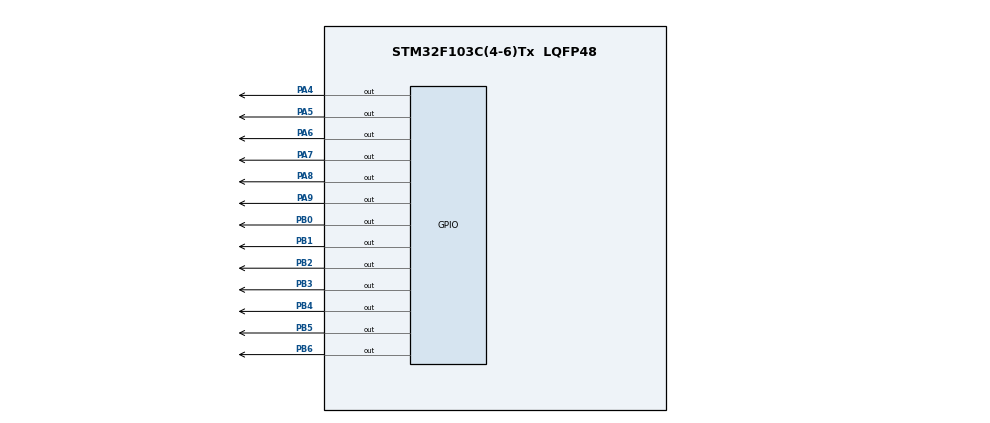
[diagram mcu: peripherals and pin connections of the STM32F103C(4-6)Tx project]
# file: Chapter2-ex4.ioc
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Mcu.Family=STM32F1
Mcu.Name=STM32F103C(4-6)Tx
Mcu.Package=LQFP48
NVIC.PriorityGroup=NVIC_PRIORITYGROUP_4
NVIC.TIM2_IRQn=true\:0\:0\:false\:false\:true\:true\:true
PA4.Signal=GPIO_Output
PA5.Signal=GPIO_Output
PA6.Signal=GPIO_Output
PA7.Signal=GPIO_Output
PA8.Signal=GPIO_Output
PA9.Signal=GPIO_Output
PB0.Signal=GPIO_Output
PB1.Signal=GPIO_Output
PB2.Signal=GPIO_Output
PB3.Signal=GPIO_Output
PB4.Signal=GPIO_Output
PB5.Signal=GPIO_Output
PB6.Signal=GPIO_Output
ProjectManager.HeapSize=0x200
ProjectManager.StackSize=0x400
ProjectManager.TargetToolchain=STM32CubeIDE
RCC.APB1Freq_Value=8000000
RCC.APB2Freq_Value=8000000
TIM2.AutoReloadPreload=TIM_AUTORELOAD_PRELOAD_ENABLE
TIM2.Period=9
TIM2.Prescaler=7999
VP_SYS_VS_ND.Mode=No_Debug
VP_TIM2_VS_ClockSourceINT.Mode=Internal
board=custom

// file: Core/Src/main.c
/* USER CODE BEGIN Header */
/**
  ******************************************************************************
  * @file           : main.c
  * @brief          : Main program body
  ******************************************************************************
  * @attention
  *
  * <h2><center>&copy; Copyright (c) 2021 STMicroelectronics.
  * All rights reserved.</center></h2>
  *
  * This software component is licensed by ST under BSD 3-Clause license,
  * the "License"; You may not use this file except in compliance with the
  * License. You may obtain a copy of the License at:
  *                        opensource.org/licenses/BSD-3-Clause
  *
  ******************************************************************************
  */
/* USER CODE END Header */
#include "main.h"

TIM_HandleTypeDef htim2;

/* USER CODE BEGIN PV */
int mil_1000 = 1;
int mil_500 = 1;

const int MAX_LED = 4;
int index_led = 0;
int led_buffer [4] = {1, 2, 3, 4};
/* USER CODE END PV */

void SystemClock_Config(void);
static void MX_TIM2_Init(void);
static void MX_GPIO_Init(void);

/* USER CODE BEGIN PFP */
void update7SEG(int);
/* USER CODE END PFP */

int main(void)
{

  /* MCU Configuration--------------------------------------------------------*/

  /* Reset of all peripherals, Initializes the Flash interface and the Systick. */
  HAL_Init();

  /* Configure the system clock */
  SystemClock_Config();

  /* Initialize all configured peripherals */
  MX_TIM2_Init();
  MX_GPIO_Init();
  /* USER CODE BEGIN 2 */
  HAL_TIM_Base_Start_IT(&htim2);
  /* USER CODE END 2 */

  /* Infinite loop */
  while (1)
  {

  }
}

void SystemClock_Config(void)
{
  RCC_OscInitTypeDef RCC_OscInitStruct = {0};
  RCC_ClkInitTypeDef RCC_ClkInitStruct = {0};

  /** Initializes the RCC Oscillators according to the specified parameters
  * in the RCC_OscInitTypeDef structure.
  */
  RCC_OscInitStruct.OscillatorType = RCC_OSCILLATORTYPE_HSI;
  RCC_OscInitStruct.HSIState = RCC_HSI_ON;
  RCC_OscInitStruct.HSICalibrationValue = RCC_HSICALIBRATION_DEFAULT;
  RCC_OscInitStruct.PLL.PLLState = RCC_PLL_NONE;
  if (HAL_RCC_OscConfig(&RCC_OscInitStruct) != HAL_OK)
  {
    Error_Handler();
  }
  /** Initializes the CPU, AHB and APB buses clocks
  */
  RCC_ClkInitStruct.ClockType = RCC_CLOCKTYPE_HCLK|RCC_CLOCKTYPE_SYSCLK
                              |RCC_CLOCKTYPE_PCLK1|RCC_CLOCKTYPE_PCLK2;
  RCC_ClkInitStruct.SYSCLKSource = RCC_SYSCLKSOURCE_HSI;
  RCC_ClkInitStruct.AHBCLKDivider = RCC_SYSCLK_DIV1;
  RCC_ClkInitStruct.APB1CLKDivider = RCC_HCLK_DIV1;
  RCC_ClkInitStruct.APB2CLKDivider = RCC_HCLK_DIV1;

  if (HAL_RCC_ClockConfig(&RCC_ClkInitStruct, FLASH_LATENCY_0) != HAL_OK)
  {
    Error_Handler();
  }
}

static void MX_TIM2_Init(void)
{

  TIM_ClockConfigTypeDef sClockSourceConfig = {0};
  TIM_MasterConfigTypeDef sMasterConfig = {0};

  htim2.Instance = TIM2;
  htim2.Init.Prescaler = 7999;
  htim2.Init.CounterMode = TIM_COUNTERMODE_UP;
  htim2.Init.Period = 9;
  htim2.Init.ClockDivision = TIM_CLOCKDIVISION_DIV1;
  htim2.Init.AutoReloadPreload = TIM_AUTORELOAD_PRELOAD_ENABLE;
  if (HAL_TIM_Base_Init(&htim2) != HAL_OK)
  {
    Error_Handler();
  }
  sClockSourceConfig.ClockSource = TIM_CLOCKSOURCE_INTERNAL;
  if (HAL_TIM_ConfigClockSource(&htim2, &sClockSourceConfig) != HAL_OK)
  {
    Error_Handler();
  }
  sMasterConfig.MasterOutputTrigger = TIM_TRGO_RESET;
  sMasterConfig.MasterSlaveMode = TIM_MASTERSLAVEMODE_DISABLE;
  if (HAL_TIMEx_MasterConfigSynchronization(&htim2, &sMasterConfig) != HAL_OK)
  {
    Error_Handler();
  }

}

static void MX_GPIO_Init(void)
{
  GPIO_InitTypeDef GPIO_InitStruct = {0};

  /* GPIO Ports Clock Enable */
  __HAL_RCC_GPIOA_CLK_ENABLE();
  __HAL_RCC_GPIOB_CLK_ENABLE();

  /*Configure GPIO pin Output Level */
  HAL_GPIO_WritePin(GPIOA, GPIO_PIN_4|GPIO_PIN_5|GPIO_PIN_6|GPIO_PIN_7
                          |GPIO_PIN_8|GPIO_PIN_9, GPIO_PIN_RESET);

  /*Configure GPIO pin Output Level */
  HAL_GPIO_WritePin(GPIOB, GPIO_PIN_0|GPIO_PIN_1|GPIO_PIN_2|GPIO_PIN_3
                          |GPIO_PIN_4|GPIO_PIN_5|GPIO_PIN_6, GPIO_PIN_RESET);

  /*Configure GPIO pins : PA4 PA5 PA6 PA7
                           PA8 PA9 */
  GPIO_InitStruct.Pin = GPIO_PIN_4|GPIO_PIN_5|GPIO_PIN_6|GPIO_PIN_7
                          |GPIO_PIN_8|GPIO_PIN_9;
  GPIO_InitStruct.Mode = GPIO_MODE_OUTPUT_PP;
  GPIO_InitStruct.Pull = GPIO_NOPULL;
  GPIO_InitStruct.Speed = GPIO_SPEED_FREQ_LOW;
  HAL_GPIO_Init(GPIOA, &GPIO_InitStruct);

  /*Configure GPIO pins : PB0 PB1 PB2 PB3
                           PB4 PB5 PB6 */
  GPIO_InitStruct.Pin = GPIO_PIN_0|GPIO_PIN_1|GPIO_PIN_2|GPIO_PIN_3
                          |GPIO_PIN_4|GPIO_PIN_5|GPIO_PIN_6;
  GPIO_InitStruct.Mode = GPIO_MODE_OUTPUT_PP;
  GPIO_InitStruct.Pull = GPIO_NOPULL;
  GPIO_InitStruct.Speed = GPIO_SPEED_FREQ_LOW;
  HAL_GPIO_Init(GPIOB, &GPIO_InitStruct);

}

/* USER CODE BEGIN 4 */
void display7SEG(int num) {

	HAL_GPIO_WritePin(SEG_PORT, SEG0 | SEG1 | SEG2 | SEG3 | SEG4 | SEG5 | SEG6, 1);
		switch(num) {
		case 0:
			HAL_GPIO_WritePin(SEG_PORT, SEG0 | SEG1 | SEG2 | SEG3 | SEG4 | SEG5, 0);
			break;
		case 1:
			HAL_GPIO_WritePin(SEG_PORT, SEG1 | SEG2, 0);
			break;
		case 2:
			HAL_GPIO_WritePin(SEG_PORT, SEG0 | SEG1 | SEG3 | SEG4 | SEG6, 0);
			break;
		case 3:
			HAL_GPIO_WritePin(SEG_PORT, SEG0 | SEG1 | SEG2 | SEG3 | SEG6, 0);
			break;
		case 4:
			HAL_GPIO_WritePin(SEG_PORT, SEG1 | SEG2 | SEG5 | SEG6, 0);
			break;
		case 5:
			HAL_GPIO_WritePin(SEG_PORT, SEG0 | SEG2 | SEG3 | SEG5 | SEG6, 0);
			break;
		case 6:
			HAL_GPIO_WritePin(SEG_PORT, SEG0 | SEG2 | SEG3 | SEG4 | SEG5 | SEG6, 0);
			break;
		case 7:
			HAL_GPIO_WritePin(SEG_PORT, SEG0 | SEG1 | SEG2, 0);
			break;
		case 8:
			HAL_GPIO_WritePin(SEG_PORT, SEG0 | SEG1 | SEG2 | SEG3 | SEG4 | SEG5 | SEG6, 0);
			break;
		case 9:
			HAL_GPIO_WritePin(SEG_PORT, SEG0 | SEG1 | SEG2 | SEG3 | SEG5 | SEG6, 0);
			break;
		}
}

int led = 0;
void HAL_TIM_PeriodElapsedCallback(TIM_HandleTypeDef*htim) {
	mil_1000--; mil_500--;

	if(mil_500 == 0) {
		mil_500 = 50;

		update7SEG(index_led++);
		if(index_led == MAX_LED) index_led = 0;
	}
	if(mil_1000 == 0) {
		mil_1000 = 100;
		HAL_GPIO_TogglePin(DOT_PORT, DOT);
		HAL_GPIO_TogglePin(RLED_PORT, RLED1);
	}
}

void update7SEG(int index) {
	HAL_GPIO_WritePin(EN_PORT, EN0 | EN1 | EN2 | EN3, 1);
	display7SEG(led_buffer[index]);

	switch(index) {
	case 0:
		HAL_GPIO_WritePin(EN_PORT, EN0, 0);
		break;
	case 1:
		HAL_GPIO_WritePin(EN_PORT, EN1, 0);
		break;
	case 2:
		HAL_GPIO_WritePin(EN_PORT, EN2, 0);
		break;
	case 3:
		HAL_GPIO_WritePin(EN_PORT, EN3, 0);
		break;
	default:
		break;
	}
}
/* USER CODE END 4 */

void Error_Handler(void)
{
  __disable_irq();
  while (1)
  {
  }
}

/************************ (C) COPYRIGHT STMicroelectronics *****END OF FILE****/
